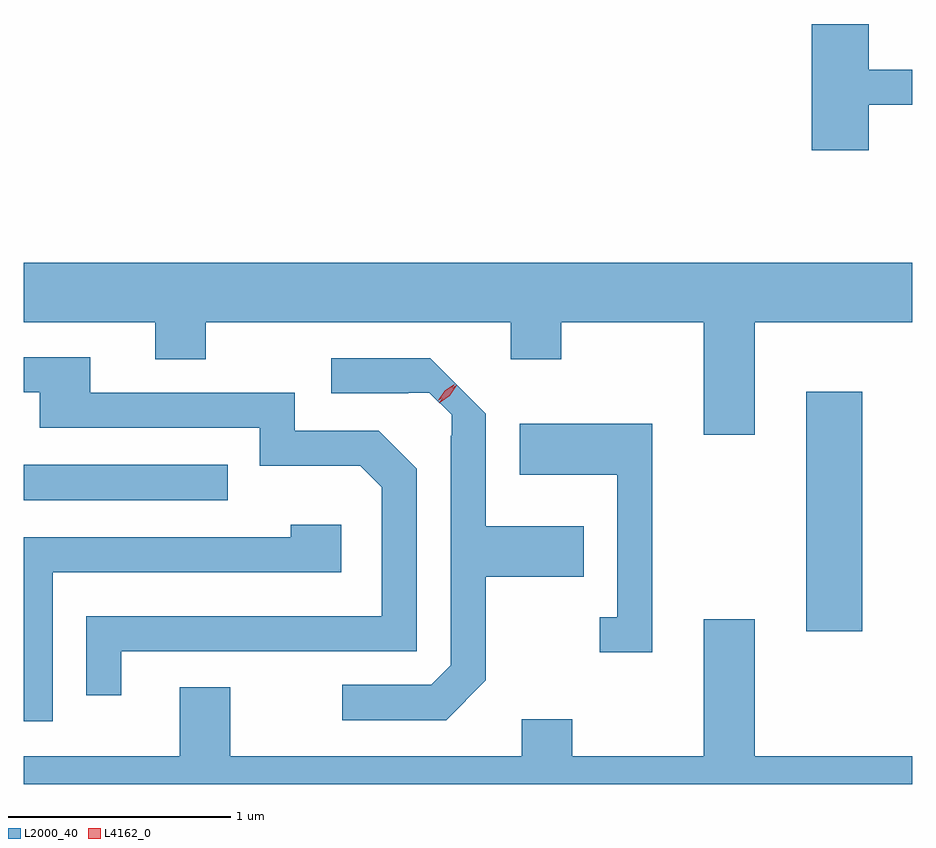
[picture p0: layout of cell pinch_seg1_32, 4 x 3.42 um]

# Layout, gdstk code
import gdstk
lib = gdstk.Library(unit=1e-6, precision=1e-09)
def R(c, l, rs):  # rectangles x0, y0, x1, y1
    for r in rs: c.add(gdstk.rectangle(r[:2], r[2:], *l))
def P(c, l, *ps):  # polygons
    for p in ps: c.add(gdstk.Polygon(p, *l))
L2000_40 = (2000, 40)
L4162_0 = (4162, 0)

pinch_seg1_32 = lib.new_cell('pinch_seg1_32')
R(pinch_seg1_32, L2000_40, [(1110.641,938.146,1110.894,939.224), (1107.119,938.736,1108.038,938.894)])
P(pinch_seg1_32, L2000_40, [(1110.924,940.516),(1111.119,940.516),(1111.119,940.674),(1110.924,940.674),(1110.924,940.879),(1110.666,940.879),(1110.666,940.311),(1110.924,940.311)],
  [(1110.409,939.536),(1111.119,939.536),(1111.119,939.804),(1107.119,939.804),(1107.119,939.536),(1107.711,939.536),(1107.711,939.371),(1107.939,939.371),(1107.939,939.536),(1109.311,939.536),(1109.311,939.371),(1109.539,939.371),(1109.539,939.536),(1110.181,939.536),(1110.181,939.031),(1110.409,939.031)],
  [(1107.559,938.056),(1108.889,938.056),(1108.889,938.877),(1108.717,939.049),(1108.339,939.049),(1108.339,939.219),(1107.419,939.219),(1107.419,939.379),(1107.119,939.379),(1107.119,939.221),(1107.191,939.221),(1107.191,939.061),(1108.181,939.061),(1108.181,938.891),(1108.634,938.891),(1108.731,938.794),(1108.731,938.214),(1107.401,938.214),(1107.401,937.858),(1107.559,937.858)],
  [(1109.199,937.924),(1109.199,938.391),(1109.639,938.391),(1109.639,938.619),(1109.199,938.619),(1109.199,939.124),(1108.949,939.374),(1108.503,939.374),(1108.503,939.216),(1108.85,939.216),(1108.85,939.22),(1108.945,939.22),(1109.045,939.12),(1109.045,939.025),(1109.041,939.025),(1109.041,937.992),(1108.954,937.904),(1108.553,937.904),(1108.553,937.746),(1109.022,937.746)],
  [(1109.949,939.079),(1109.351,939.079),(1109.351,938.851),(1109.791,938.851),(1109.791,938.209),(1109.713,938.209),(1109.713,938.051),(1109.949,938.051)],
  [(1107.249,938.411),(1108.549,938.411),(1108.549,938.624),(1108.321,938.624),(1108.321,938.569),(1107.119,938.569),(1107.119,937.741),(1107.249,937.741)],
  [(1111.119,937.584),(1110.409,937.584),(1110.409,938.199),(1110.181,938.199),(1110.181,937.584),(1109.589,937.584),(1109.589,937.749),(1109.361,937.749),(1109.361,937.584),(1108.049,937.584),(1108.049,937.894),(1107.821,937.894),(1107.821,937.584),(1107.119,937.584),(1107.119,937.458),(1111.119,937.458)])
P(pinch_seg1_32, L4162_0, [(1108.99,939.174),(1108.99,939.175),(1109.022,939.22),(1109.067,939.252),(1109.068,939.252),(1109.068,939.252),(1109.036,939.206),(1108.991,939.174)],
  [(1108.986,939.185),(1108.986,939.186),(1109.014,939.228),(1109.056,939.257),(1109.056,939.257),(1109.056,939.256),(1109.028,939.214),(1108.987,939.185)])

lib.write_gds('pinch_seg1_32.gds')
